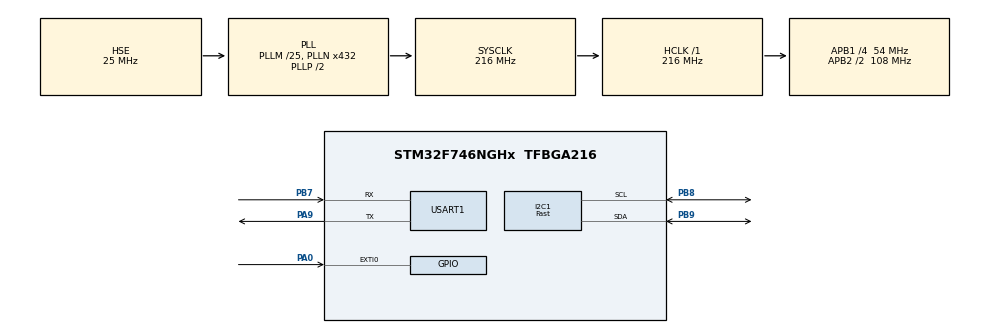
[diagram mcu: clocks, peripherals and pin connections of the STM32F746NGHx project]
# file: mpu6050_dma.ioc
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Dma.I2C1_RX.0.Direction=DMA_PERIPH_TO_MEMORY
Dma.I2C1_RX.0.FIFOMode=DMA_FIFOMODE_DISABLE
Dma.I2C1_RX.0.Instance=DMA1_Stream0
Dma.I2C1_RX.0.MemDataAlignment=DMA_MDATAALIGN_BYTE
Dma.I2C1_RX.0.MemInc=DMA_MINC_ENABLE
Dma.I2C1_RX.0.Mode=DMA_NORMAL
Dma.I2C1_RX.0.PeriphDataAlignment=DMA_PDATAALIGN_BYTE
Dma.I2C1_RX.0.PeriphInc=DMA_PINC_DISABLE
Dma.I2C1_RX.0.Priority=DMA_PRIORITY_LOW
Dma.Request0=I2C1_RX
I2C1.I2C_Speed_Mode=I2C_Fast
I2C1.Timing=0x6000030D
Mcu.Family=STM32F7
Mcu.Name=STM32F746NGHx
Mcu.Package=TFBGA216
NVIC.DMA1_Stream0_IRQn=true\:0\:0\:false\:false\:true\:false\:true\:true
NVIC.PriorityGroup=NVIC_PRIORITYGROUP_4
PA0/WKUP.Signal=GPXTI0
PA13.Mode=Serial_Wire
PA13.Signal=SYS_JTMS-SWDIO
PA14.Mode=Serial_Wire
PA14.Signal=SYS_JTCK-SWCLK
PA9.Mode=Asynchronous
PA9.Signal=USART1_TX
PB7.Mode=Asynchronous
PB7.Signal=USART1_RX
PB8.Mode=I2C
PB8.Signal=I2C1_SCL
PB9.Mode=I2C
PB9.Signal=I2C1_SDA
PH0/OSC_IN.Mode=HSE-External-Oscillator
PH0/OSC_IN.Signal=RCC_OSC_IN
PH1/OSC_OUT.Mode=HSE-External-Oscillator
PH1/OSC_OUT.Signal=RCC_OSC_OUT
ProjectManager.HeapSize=0x200
ProjectManager.StackSize=0x400
ProjectManager.TargetToolchain=STM32CubeIDE
RCC.AHBFreq_Value=216000000
RCC.APB1CLKDivider=RCC_HCLK_DIV4
RCC.APB1Freq_Value=54000000
RCC.APB1TimFreq_Value=108000000
RCC.APB2CLKDivider=RCC_HCLK_DIV2
RCC.APB2Freq_Value=108000000
RCC.APB2TimFreq_Value=216000000
RCC.CortexFreq_Value=216000000
RCC.HCLKFreq_Value=216000000
RCC.HSE_VALUE=25000000
RCC.HSI_VALUE=16000000
RCC.PLL48CLockSelection=RCC_CLK48SOURCE_PLLSAIP
RCC.PLLI2SN=100
RCC.PLLM=25
RCC.PLLN=432
RCC.PLLQ=9
RCC.PLLSAIN=384
RCC.PLLSAIP=RCC_PLLSAIP_DIV8
RCC.PLLSAIR=5
RCC.PLLSAIRDiv=RCC_PLLSAIDIVR_8
RCC.PLLSourceVirtual=RCC_PLLSOURCE_HSE
RCC.SDMMCClockSelection=RCC_SDMMC1CLKSOURCE_CLK48
RCC.SYSCLKFreq_VALUE=216000000
RCC.SYSCLKSource=RCC_SYSCLKSOURCE_PLLCLK
RCC.USBFreq_Value=48000000
RCC.VCOOutputFreq_Value=432000000
USART1.VirtualMode-Asynchronous=VM_ASYNC
board=STM32F746G-DISCO

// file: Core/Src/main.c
/* USER CODE BEGIN Header */
/**
  ******************************************************************************
  * @file           : main.c
  * @brief          : Main program body
  ******************************************************************************
  * @attention
  *
  * Copyright (c) 2025 STMicroelectronics.
  * All rights reserved.
  *
  * This software is licensed under terms that can be found in the LICENSE file
  * in the root directory of this software component.
  * If no LICENSE file comes with this software, it is provided AS-IS.
  *
  ******************************************************************************
  */
/* USER CODE END Header */
#include "main.h"
#include "MPU6050_DMA.h"
#include <string.h>
#include <stdio.h>

I2C_HandleTypeDef hi2c1;
DMA_HandleTypeDef hdma_i2c1_rx;

UART_HandleTypeDef huart1;

void SystemClock_Config(void);
static void MX_GPIO_Init(void);
static void MX_DMA_Init(void);
static void MX_I2C1_Init(void);
static void MX_USART1_UART_Init(void);

/* USER CODE BEGIN 0 */
int __io_putchar(int ch) {
    uint8_t c = (uint8_t)ch;
    HAL_UART_Transmit(&huart1, &c, 1, HAL_MAX_DELAY);
    return ch;
}
int fputc(int ch, FILE *f){
	return __io_putchar(ch);
}

/* Callback from HAL when I2C DMA complete (forward to driver) */
void HAL_I2C_MemRxCpltCallback(I2C_HandleTypeDef *hi2c)
{
    MPU6050_DMA_I2C_RxCpltCallback(hi2c);
}

void HAL_I2C_ErrorCallback(I2C_HandleTypeDef *hi2c)
{
    MPU6050_DMA_I2C_ErrorCallback(hi2c);
}

/* External interrupt from MPU6050 INT pin (PA0) */
void HAL_GPIO_EXTI_Callback(uint16_t GPIO_Pin)
{
    if (GPIO_Pin == GPIO_PIN_0) {
        /* start DMA read on INT */
        MPU6050_DMA_StartRead();
    }
}

/* USER CODE END 0 */

int main(void)
{

  /* USER CODE BEGIN 1 */
  MPU6050_Data_t data;
  /* USER CODE END 1 */

  /* MCU Configuration--------------------------------------------------------*/

  /* Reset of all peripherals, Initializes the Flash interface and the Systick. */
  HAL_Init();

  /* Configure the system clock */
  SystemClock_Config();

  /* Initialize all configured peripherals */
  MX_GPIO_Init();
  MX_DMA_Init();
  MX_I2C1_Init();
  MX_USART1_UART_Init();
  /* USER CODE BEGIN 2 */
  HAL_Delay(50);
  printf("\r\nMPU6050 DMA TEST\r\n");
  if (MPU6050_DMA_Init() != 0) {
	  printf("MPU6050 init failed!\r\n");
	  while (1) { HAL_Delay(1000); }
  }
      printf("MPU6050 init OK\r\n");

      /* If you use EXTI from INT pin, the MPU will trigger and HAL_GPIO_EXTI_Callback will call StartRead.
         Otherwise, we do periodic reads here. */
  /* USER CODE END 2 */

  /* Infinite loop */
  while (1)
  {
	  /* Start a DMA read (single shot) */
	  if (MPU6050_DMA_StartRead() == HAL_OK) {
		  /* wait for completion with timeout */
		  uint32_t t0 = HAL_GetTick();
		  while (!MPU6050_DMA_DataReady() && (HAL_GetTick() - t0) < 50) {
			  /* optionally sleep or do other tasks */
			  }
		  if (MPU6050_DMA_DataReady()) {
			  MPU6050_DMA_ProcessData(&data);
			  printf("Acc: %.3f, %.3f, %.3f g  Gyro: %.2f, %.2f, %.2f dps  T: %.2f C\r\n",
					  data.acc_x_g, data.acc_y_g, data.acc_z_g,
					  data.gyro_x_dps, data.gyro_y_dps, data.gyro_z_dps,
					  data.temperature_c);
		  } else {
			  printf("DMA timeout or error\n");
		  }
	  } else {
		  printf("StartRead HAL error\n");
	  }

	  HAL_Delay(200); /* sample 5 Hz here; tune as needed */
  }
}

void SystemClock_Config(void)
{
  RCC_OscInitTypeDef RCC_OscInitStruct = {0};
  RCC_ClkInitTypeDef RCC_ClkInitStruct = {0};

  /** Configure the main internal regulator output voltage
  */
  __HAL_RCC_PWR_CLK_ENABLE();
  __HAL_PWR_VOLTAGESCALING_CONFIG(PWR_REGULATOR_VOLTAGE_SCALE1);

  /** Initializes the RCC Oscillators according to the specified parameters
  * in the RCC_OscInitTypeDef structure.
  */
  RCC_OscInitStruct.OscillatorType = RCC_OSCILLATORTYPE_HSE;
  RCC_OscInitStruct.HSEState = RCC_HSE_ON;
  RCC_OscInitStruct.PLL.PLLState = RCC_PLL_ON;
  RCC_OscInitStruct.PLL.PLLSource = RCC_PLLSOURCE_HSE;
  RCC_OscInitStruct.PLL.PLLM = 25;
  RCC_OscInitStruct.PLL.PLLN = 432;
  RCC_OscInitStruct.PLL.PLLP = RCC_PLLP_DIV2;
  RCC_OscInitStruct.PLL.PLLQ = 9;
  if (HAL_RCC_OscConfig(&RCC_OscInitStruct) != HAL_OK)
  {
    Error_Handler();
  }

  /** Activate the Over-Drive mode
  */
  if (HAL_PWREx_EnableOverDrive() != HAL_OK)
  {
    Error_Handler();
  }

  /** Initializes the CPU, AHB and APB buses clocks
  */
  RCC_ClkInitStruct.ClockType = RCC_CLOCKTYPE_HCLK|RCC_CLOCKTYPE_SYSCLK
                              |RCC_CLOCKTYPE_PCLK1|RCC_CLOCKTYPE_PCLK2;
  RCC_ClkInitStruct.SYSCLKSource = RCC_SYSCLKSOURCE_PLLCLK;
  RCC_ClkInitStruct.AHBCLKDivider = RCC_SYSCLK_DIV1;
  RCC_ClkInitStruct.APB1CLKDivider = RCC_HCLK_DIV4;
  RCC_ClkInitStruct.APB2CLKDivider = RCC_HCLK_DIV2;

  if (HAL_RCC_ClockConfig(&RCC_ClkInitStruct, FLASH_LATENCY_7) != HAL_OK)
  {
    Error_Handler();
  }
}

static void MX_I2C1_Init(void)
{

  hi2c1.Instance = I2C1;
  hi2c1.Init.Timing = 0x6000030D;
  hi2c1.Init.OwnAddress1 = 0;
  hi2c1.Init.AddressingMode = I2C_ADDRESSINGMODE_7BIT;
  hi2c1.Init.DualAddressMode = I2C_DUALADDRESS_DISABLE;
  hi2c1.Init.OwnAddress2 = 0;
  hi2c1.Init.OwnAddress2Masks = I2C_OA2_NOMASK;
  hi2c1.Init.GeneralCallMode = I2C_GENERALCALL_DISABLE;
  hi2c1.Init.NoStretchMode = I2C_NOSTRETCH_DISABLE;
  if (HAL_I2C_Init(&hi2c1) != HAL_OK)
  {
    Error_Handler();
  }

  /** Configure Analogue filter
  */
  if (HAL_I2CEx_ConfigAnalogFilter(&hi2c1, I2C_ANALOGFILTER_ENABLE) != HAL_OK)
  {
    Error_Handler();
  }

  /** Configure Digital filter
  */
  if (HAL_I2CEx_ConfigDigitalFilter(&hi2c1, 0) != HAL_OK)
  {
    Error_Handler();
  }

}

static void MX_USART1_UART_Init(void)
{

  huart1.Instance = USART1;
  huart1.Init.BaudRate = 115200;
  huart1.Init.WordLength = UART_WORDLENGTH_8B;
  huart1.Init.StopBits = UART_STOPBITS_1;
  huart1.Init.Parity = UART_PARITY_NONE;
  huart1.Init.Mode = UART_MODE_TX_RX;
  huart1.Init.HwFlowCtl = UART_HWCONTROL_NONE;
  huart1.Init.OverSampling = UART_OVERSAMPLING_16;
  huart1.Init.OneBitSampling = UART_ONE_BIT_SAMPLE_DISABLE;
  huart1.AdvancedInit.AdvFeatureInit = UART_ADVFEATURE_NO_INIT;
  if (HAL_UART_Init(&huart1) != HAL_OK)
  {
    Error_Handler();
  }

}

static void MX_DMA_Init(void)
{

  /* DMA controller clock enable */
  __HAL_RCC_DMA1_CLK_ENABLE();

  /* DMA interrupt init */
  /* DMA1_Stream0_IRQn interrupt configuration */
  HAL_NVIC_SetPriority(DMA1_Stream0_IRQn, 0, 0);
  HAL_NVIC_EnableIRQ(DMA1_Stream0_IRQn);

}

static void MX_GPIO_Init(void)
{
  GPIO_InitTypeDef GPIO_InitStruct = {0};

  /* GPIO Ports Clock Enable */
  __HAL_RCC_GPIOB_CLK_ENABLE();
  __HAL_RCC_GPIOA_CLK_ENABLE();
  __HAL_RCC_GPIOH_CLK_ENABLE();

  /*Configure GPIO pin : PA0 */
  GPIO_InitStruct.Pin = GPIO_PIN_0;
  GPIO_InitStruct.Mode = GPIO_MODE_IT_RISING;
  GPIO_InitStruct.Pull = GPIO_NOPULL;
  HAL_GPIO_Init(GPIOA, &GPIO_InitStruct);

}

void Error_Handler(void)
{
  __disable_irq();
  while (1)
  {
  }
}
